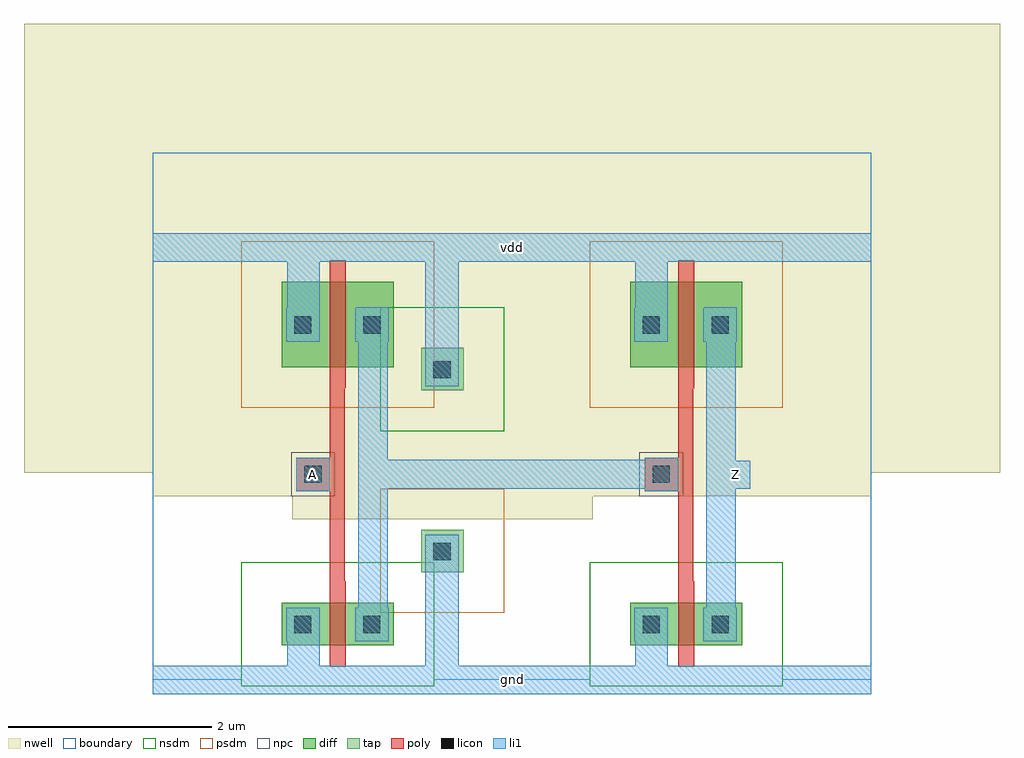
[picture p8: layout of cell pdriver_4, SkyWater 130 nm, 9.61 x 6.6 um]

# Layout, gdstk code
import gdstk
lib = gdstk.Library(unit=1e-6, precision=1e-09)
def R(c, l, rs):  # rectangles x0, y0, x1, y1
    for r in rs: c.add(gdstk.rectangle(r[:2], r[2:], *l))
nwell = (64, 20)
diff = (65, 20)
tap = (65, 44)
poly = (66, 20)
licon = (66, 44)
li1 = (67, 20)
nsdm = (93, 44)
psdm = (94, 20)
npc = (95, 20)
boundary = (235, 4)

contact_10 = lib.new_cell('contact_10')
R(contact_10, nwell, [(-1.27,-1.27,1.69,1.69)])
R(contact_10, diff, [(0,0,0.42,0.42)])
R(contact_10, licon, [(0.12,0.12,0.29,0.29)])
R(contact_10, li1, [(0.04,0.04,0.37,0.37)])
R(contact_10, psdm, [(-0.4,-0.4,0.82,0.82)])
R(contact_10, boundary, [(-1.27,-1.27,1.69,1.69)])

pmos_m1_w0_840_sli_dli_d = lib.new_cell('pmos_m1_w0_840_sli_dli_da_p')
R(pmos_m1_w0_840_sli_dli_d, nwell, [(-1.27,-1.27,2.37,2.11)])
R(pmos_m1_w0_840_sli_dli_d, diff, [(0,0,1.1,0.84)])
R(pmos_m1_w0_840_sli_dli_d, poly, [(0.47,-0.21,0.62,1.05), (0.47,-0.21,0.63,1.05)])
R(pmos_m1_w0_840_sli_dli_d, li1, [(0.05,0.25,0.37,0.59), (0.73,0.25,1.05,0.59)])
R(pmos_m1_w0_840_sli_dli_d, psdm, [(-0.4,-0.4,1.5,1.24)])
R(pmos_m1_w0_840_sli_dli_d, boundary, [(-1.27,-1.27,2.37,2.11)])
pmos_m1_w0_840_sli_dli_d.add(gdstk.Reference(contact_10, (0,0.21)))
pmos_m1_w0_840_sli_dli_d.add(gdstk.Reference(contact_10, (0.68,0.21)))
pmos_m1_w0_840_sli_dli_d.add(gdstk.Label('G', (0.55,0.42), layer=66, texttype=20))
pmos_m1_w0_840_sli_dli_d.add(gdstk.Label('S', (0.21,0.42), layer=67, texttype=20))
pmos_m1_w0_840_sli_dli_d.add(gdstk.Label('D', (0.89,0.42), layer=67, texttype=20))

contact_9 = lib.new_cell('contact_9')
R(contact_9, diff, [(0,0,0.42,0.42)])
R(contact_9, licon, [(0.12,0.12,0.29,0.29)])
R(contact_9, li1, [(0.04,0.04,0.37,0.37)])
R(contact_9, nsdm, [(-0.4,-0.4,0.82,0.82)])
R(contact_9, boundary, [(-0.4,-0.4,0.82,0.82)])

nmos_m1_w0_420_sli_dli_d = lib.new_cell('nmos_m1_w0_420_sli_dli_da_p')
R(nmos_m1_w0_420_sli_dli_d, diff, [(0,0,1.1,0.42)])
R(nmos_m1_w0_420_sli_dli_d, poly, [(0.47,-0.21,0.62,0.63), (0.47,-0.21,0.63,0.63)])
R(nmos_m1_w0_420_sli_dli_d, li1, [(0.05,0.05,0.37,0.37), (0.73,0.05,1.05,0.37)])
R(nmos_m1_w0_420_sli_dli_d, nsdm, [(-0.4,-0.4,1.5,0.82)])
R(nmos_m1_w0_420_sli_dli_d, boundary, [(-0.4,-0.4,1.5,0.82)])
nmos_m1_w0_420_sli_dli_d.add(gdstk.Reference(contact_9, (0,0)))
nmos_m1_w0_420_sli_dli_d.add(gdstk.Reference(contact_9, (0.68,0)))
nmos_m1_w0_420_sli_dli_d.add(gdstk.Label('G', (0.55,0.21), layer=66, texttype=20))
nmos_m1_w0_420_sli_dli_d.add(gdstk.Label('S', (0.21,0.21), layer=67, texttype=20))
nmos_m1_w0_420_sli_dli_d.add(gdstk.Label('D', (0.89,0.21), layer=67, texttype=20))

contact_11 = lib.new_cell('contact_11')
R(contact_11, nwell, [(-1.27,-1.27,1.69,1.69)])
R(contact_11, tap, [(0,0,0.42,0.42)])
R(contact_11, licon, [(0.12,0.12,0.29,0.29)])
R(contact_11, li1, [(0.04,0.04,0.37,0.37)])
R(contact_11, nsdm, [(-0.4,-0.4,0.82,0.82)])
R(contact_11, boundary, [(-1.27,-1.27,1.69,1.69)])

contact_12 = lib.new_cell('contact_12')
R(contact_12, tap, [(0,0,0.42,0.42)])
R(contact_12, licon, [(0.12,0.12,0.29,0.29)])
R(contact_12, li1, [(0.04,0.04,0.37,0.37)])
R(contact_12, psdm, [(-0.4,-0.4,0.82,0.82)])
R(contact_12, boundary, [(-0.4,-0.4,0.82,0.82)])

contact_13 = lib.new_cell('contact_13')
R(contact_13, poly, [(0,0,0.33,0.33)])
R(contact_13, licon, [(0.08,0.08,0.25,0.25)])
R(contact_13, li1, [(0,0,0.33,0.33)])
R(contact_13, npc, [(-0.05,-0.05,0.38,0.38)])
R(contact_13, boundary, [(-0.05,-0.05,0.38,0.38)])

pinv_5 = lib.new_cell('pinv_5')
R(pinv_5, nwell, [(-1.27,2.04,4.7,6.46)])
R(pinv_5, poly, [(1.74,0.97,1.89,2.87), (1.58,1.86,1.74,2.19)])
R(pinv_5, li1, [(0,-0.14,3.43,0.14), (1.32,-0.14,1.64,0.39), (2.68,0,3.01,1.27), (2.02,0.39,2.31,3.67), (1.41,1.86,1.74,2.18), (2.16,1.88,2.45,2.16), (2.68,3.06,3.01,4.26), (1.32,3.33,1.64,4.4), (0,4.12,3.43,4.4)])
R(pinv_5, boundary, [(0,0,3.43,4.26), (0,0,3.43,4.26)])
pinv_5.add(gdstk.Reference(pmos_m1_w0_840_sli_dli_d, (1.27,3.08)))
pinv_5.add(gdstk.Reference(nmos_m1_w0_420_sli_dli_d, (1.27,0.34)))
pinv_5.add(gdstk.Reference(contact_11, (2.64,2.85)))
pinv_5.add(gdstk.Reference(contact_12, (2.64,1.06)))
pinv_5.add(gdstk.Reference(contact_13, (1.41,1.86)))
pinv_5.add(gdstk.Label('A', (1.575,2.02), layer=67, texttype=20))
pinv_5.add(gdstk.Label('Z', (2.305,2.02), layer=67, texttype=20))
pinv_5.add(gdstk.Label('gnd', (1.715,0), layer=67, texttype=20))
pinv_5.add(gdstk.Label('vdd', (1.715,4.26), layer=67, texttype=20))

pinv_8 = lib.new_cell('pinv_8')
R(pinv_8, nwell, [(-1.27,2.04,4.91,6.46)])
R(pinv_8, poly, [(1.74,0.97,1.89,2.87), (1.58,1.86,1.74,2.19)])
R(pinv_8, li1, [(0,-0.14,3.64,0.14), (1.32,-0.14,1.64,0.39), (2.02,0.39,2.31,3.67), (1.41,1.86,1.74,2.18), (2.16,1.88,2.45,2.16), (1.32,3.33,1.64,4.4), (0,4.12,3.64,4.4)])
R(pinv_8, boundary, [(0,0,3.64,4.26), (0,0,3.64,4.26)])
pinv_8.add(gdstk.Reference(pmos_m1_w0_840_sli_dli_d, (1.27,3.08)))
pinv_8.add(gdstk.Reference(nmos_m1_w0_420_sli_dli_d, (1.27,0.34)))
pinv_8.add(gdstk.Reference(contact_13, (1.41,1.86)))
pinv_8.add(gdstk.Label('A', (1.575,2.02), layer=67, texttype=20))
pinv_8.add(gdstk.Label('Z', (2.305,2.02), layer=67, texttype=20))
pinv_8.add(gdstk.Label('gnd', (1.82,0), layer=67, texttype=20))
pinv_8.add(gdstk.Label('vdd', (1.82,4.26), layer=67, texttype=20))

pdriver_4 = lib.new_cell('pdriver_4')
R(pdriver_4, nwell, [(-1.27,2.04,8.34,6.46)])
R(pdriver_4, li1, [(0,-0.14,7.07,0.14), (1.41,1.86,1.74,2.18), (2.3,1.88,5,2.17), (5.59,1.88,5.88,2.16), (0,4.12,7.07,4.4)])
R(pdriver_4, boundary, [(0,0,7.07,4.26), (0,0,7.07,4.26)])
pdriver_4.add(gdstk.Reference(pinv_5, (0,0)))
pdriver_4.add(gdstk.Reference(pinv_8, (3.43,0)))
pdriver_4.add(gdstk.Label('Z', (5.735,2.02), layer=67, texttype=20))
pdriver_4.add(gdstk.Label('A', (1.575,2.02), layer=67, texttype=20))
pdriver_4.add(gdstk.Label('gnd', (3.535,0), layer=67, texttype=20))
pdriver_4.add(gdstk.Label('vdd', (3.535,4.26), layer=67, texttype=20))

lib.write_gds('pdriver_4.gds')
